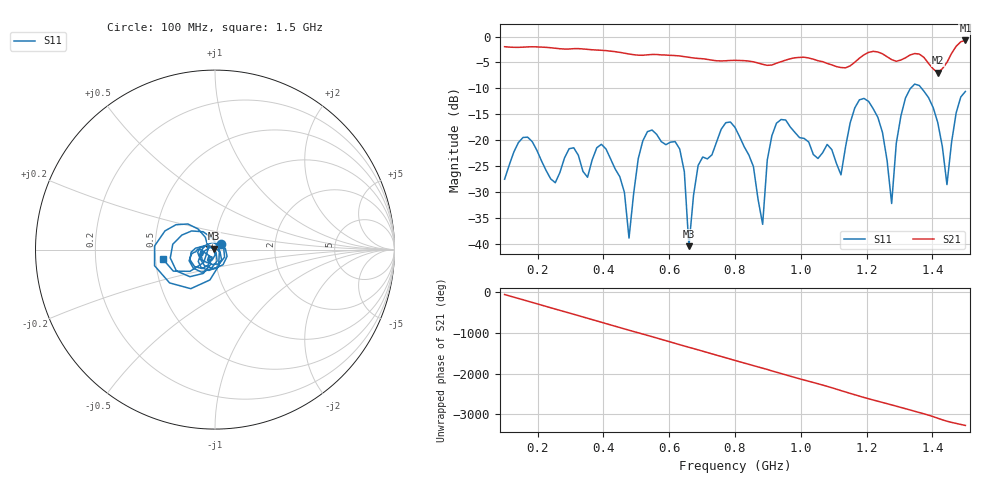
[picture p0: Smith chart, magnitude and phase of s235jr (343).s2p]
! NanoVNA-App
! Date: 2025-09-25 15:06:50
! Start: 100MHz Stop: 1,5GHz Points: 101
! S-Parameter data: F S11 S21 S12 S22
# Hz S RI R 50
!  Frequency  S11_Real  S11_Imag  S21_Real  S21_Imag  S12_Real  S12_Imag  S22_Real  S22_Imag
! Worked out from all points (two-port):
!   101 points, 100 MHz to 1.5 GHz, reference 50 ohm
!   highest |S21| = -0.76 dB at 1.5 GHz (marker M1); lowest = -7.0 dB at 1.416 GHz (marker M2)
!   |S21| within 3 dB of the highest: start of sweep to 633.7 MHz; 1.187 GHz to 1.259 GHz (71.8 MHz wide, 5.87 % of centre) (the widest 2 of 4)
!   lowest |S11| = -40.4 dB at 660 MHz (marker M3), VSWR 1.02, Z = 49.2 + j0.524 ohm
!   |S11| at or under -10 dB: start of sweep to 1.333 GHz; 1.367 GHz to end of sweep
!   S12 and S22 are empty: the file has one direction only
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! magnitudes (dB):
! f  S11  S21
! 100 MHz  -27.5  -2.0
! 156 MHz  -19.4  -2.1
! 338 MHz  -26.0  -2.4
! 408 MHz  -21.6  -2.7
! 478 MHz  -38.8  -3.4
! 520 MHz  -20.1  -3.6
! 576 MHz  -20.2  -3.5
! 632 MHz  -21.7  -3.7
! 660 MHz  -40.4  -4.0
! 688 MHz  -24.8  -4.2
! 800 MHz  -17.5  -4.6
! 884 MHz  -36.2  -5.4
! 926 MHz  -16.7  -5.1
! 1.038 GHz  -22.7  -4.4
! 1.122 GHz  -26.6  -6.0
! 1.192 GHz  -11.9  -3.5
! 1.248 GHz  -18.5  -3.3
! 1.276 GHz  -32.2  -4.4
! 1.332 GHz  -10.1  -3.6
! 1.416 GHz  -16.6  -7.0
! 1.444 GHz  -28.5  -5.0
! 1.5 GHz  -10.6  -0.8
